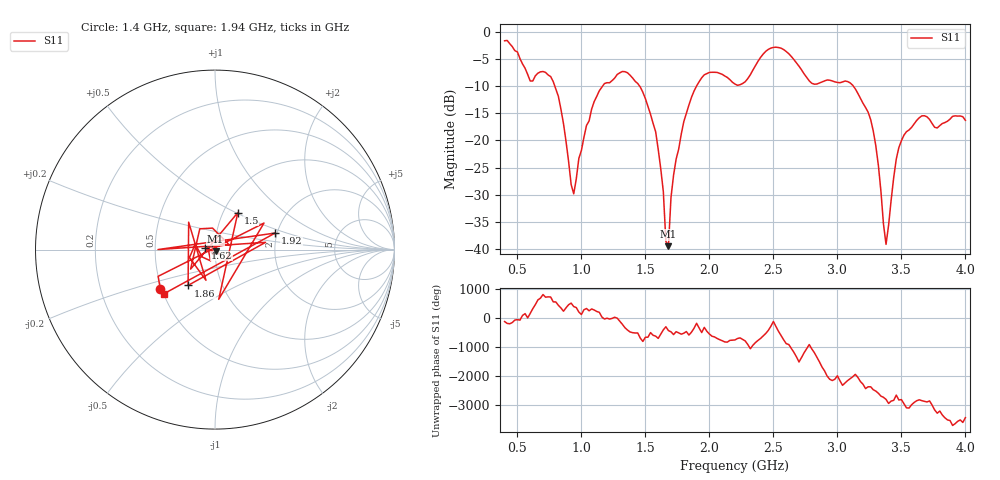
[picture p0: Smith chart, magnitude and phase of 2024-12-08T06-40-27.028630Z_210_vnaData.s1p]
!Created with skrf (http://scikit-rf.org).
# Hz S RI R 50.0
!freq ReS11 ImS11
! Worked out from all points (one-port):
!   181 points, 400 MHz to 4 GHz, reference 50 ohm
!   lowest |S11| = -39.5 dB at 1.68 GHz (marker M1), VSWR 1.02, Z = 50.3 - j1.02 ohm
!   |S11| at or under -10 dB: 792.3 MHz to 1.165 GHz (373.1 MHz wide, 38.1 % of centre); 1.455 GHz to 1.899 GHz (444.2 MHz wide, 26.5 % of centre); 3.125 GHz to end of sweep
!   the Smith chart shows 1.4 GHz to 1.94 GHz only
!   S11 on the Smith chart (normalised r, x): 1.4 GHz: 0.49, -0.25; 1.5 GHz: 1.17, +0.51; 1.62 GHz: 0.90, +0.02; 1.86 GHz: 0.69, -0.29; 1.92 GHz: 1.95, +0.41; 1.94 GHz: 0.50, -0.29
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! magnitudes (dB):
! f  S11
! 400 MHz  -1.7
! 600 MHz  -9.1
! 760 MHz  -8.2
! 860 MHz  -16.9
! 940 MHz  -29.8
! 1.1 GHz  -12.8
! 1.3 GHz  -7.6
! 1.4 GHz  -8.5
! 1.5 GHz  -12.3
! 1.58 GHz  -18.4
! 1.62 GHz  -25.2
! 1.66 GHz  -38.6
! 1.68 GHz  -39.5
! 1.7 GHz  -30.5
! 1.76 GHz  -21.6
! 1.86 GHz  -12.1
! 1.92 GHz  -9.2
! 1.94 GHz  -8.5
! 2.2 GHz  -9.6
! 2.48 GHz  -3.0
! 2.66 GHz  -5.1
! 2.8 GHz  -9.5
! 3.1 GHz  -9.4
! 3.28 GHz  -18.2
! 3.38 GHz  -39.1
! 3.46 GHz  -23.4
! 3.56 GHz  -18.1
! 4 GHz  -16.3
